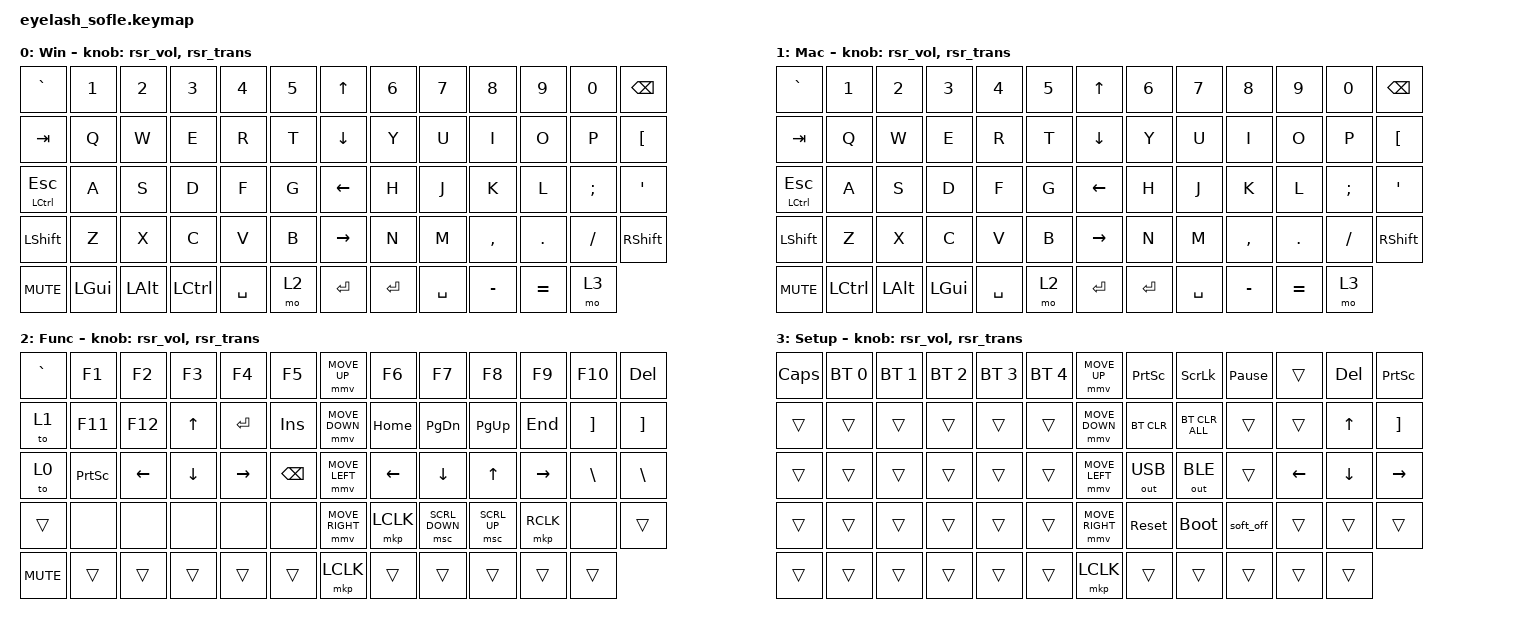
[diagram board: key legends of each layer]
#include <input/processors.dtsi>
#include <zephyr/dt-bindings/input/input-event-codes.h>
#include <behaviors.dtsi>
#include <dt-bindings/zmk/bt.h>
#include <dt-bindings/zmk/keys.h>
#include <dt-bindings/zmk/outputs.h>
#include <dt-bindings/zmk/pointing.h>
#include <dt-bindings/zmk/rgb.h>
#include <behaviors/runtime-sensor-rotate.dtsi>

/ {
    zip_scroll_scaler: zip_scroll_scaler {
        compatible = "zmk,input-processor-scaler";
        #input-processor-cells = <2>;
        type = <INPUT_EV_REL>;
        codes = <INPUT_REL_WHEEL INPUT_REL_HWHEEL>;
        track-remainders;
    };
};

&mmv_input_listener { input-processors = <&zip_xy_scaler 2 1>; };

&msc_input_listener { input-processors = <&zip_scroll_scaler 2 1>; };

&msc {
    acceleration-exponent = <0>;      // 0
    time-to-max-speed-ms = <0>;       // 300
    delay-ms = <0>;                   // 0
};

&mmv {
    time-to-max-speed-ms = <400>;
    acceleration-exponent = <1>;
};

&soft_off { hold-time-ms = <2000>; };

/ {
    behaviors {
        rsr_vol: rsr_vol {
            compatible = "zmk,behavior-runtime-sensor-rotate";
            #sensor-binding-cells = <0>;
            tap-ms = <5>;
            cw-binding = <&kp C_VOL_UP>;
            ccw-binding = <&kp C_VOL_DN>;
        };

        rsr_trans: rsr_trans {
            compatible = "zmk,behavior-runtime-sensor-rotate";
            #sensor-binding-cells = <0>;
            tap-ms = <0>;
        };
    };

    macros {
        shift_MB3: shift_MB3 {
            compatible = "zmk,behavior-macro";
            #binding-cells = <0>;
            bindings =
                <&macro_press>,
                <&kp LEFT_SHIFT>,
                <&macro_press>,
                <&mkp MB3>,
                <&macro_pause_for_release>,
                <&macro_release>,
                <&mkp MB3 &kp LEFT_SHIFT>;

            label = "SHIFT_MB3";
        };
    };

    combos {
        compatible = "zmk,combos";

        softoff {
            bindings = <&soft_off>;
            key-positions = <14 28 40>;
        };
    };

    keymap {
        compatible = "zmk,keymap";

        layer0 {
            bindings = <
&kp GRAVE     &kp N1   &kp N2   &kp N3    &kp N4    &kp N5               &kp UP_ARROW                  &kp N6    &kp N7    &kp N8    &kp N9    &kp N0   &kp BACKSPACE
&kp TAB       &kp Q    &kp W    &kp E     &kp R     &kp T                &kp DOWN_ARROW                &kp Y     &kp U     &kp I     &kp O     &kp P    &kp LBKT
&mt LCTRL ESC &kp A    &kp S    &kp D     &kp F     &kp G                &kp LEFT_ARROW                &kp H     &kp J     &kp K     &kp L     &kp SEMI &kp APOS
&kp LSHFT     &kp Z    &kp X    &kp C     &kp V     &kp B                &kp RIGHT_ARROW               &kp N     &kp M     &kp COMMA &kp DOT   &kp FSLH &kp RSHFT
&kp C_MUTE    &kp LGUI &kp LALT &kp LCTRL &kp SPACE &mo 2                &kp ENTER                     &kp ENTER &kp SPACE &kp MINUS &kp EQUAL &mo 3
            >;
            sensor-bindings = <&rsr_vol &rsr_trans>;
            display-name = "Win";
        };

        layer_1 {
            bindings = <
&kp GRAVE     &kp N1    &kp N2   &kp N3   &kp N4    &kp N5               &kp UP_ARROW                  &kp N6    &kp N7    &kp N8    &kp N9    &kp N0   &kp BACKSPACE
&kp TAB       &kp Q     &kp W    &kp E    &kp R     &kp T                &kp DOWN_ARROW                &kp Y     &kp U     &kp I     &kp O     &kp P    &kp LBKT
&mt LCTRL ESC &kp A     &kp S    &kp D    &kp F     &kp G                &kp LEFT_ARROW                &kp H     &kp J     &kp K     &kp L     &kp SEMI &kp APOS
&kp LSHFT     &kp Z     &kp X    &kp C    &kp V     &kp B                &kp RIGHT_ARROW               &kp N     &kp M     &kp COMMA &kp DOT   &kp FSLH &kp RSHFT
&kp C_MUTE    &kp LCTRL &kp LALT &kp LGUI &kp SPACE &mo 2                &kp ENTER                     &kp ENTER &kp SPACE &kp MINUS &kp EQUAL &mo 3
            >;
            sensor-bindings = <&rsr_vol &rsr_trans>;
            display-name = "Mac";
        };

        layer_2 {
            bindings = <
&kp GRAVE  &kp F1    &kp F2   &kp F3   &kp F4    &kp F5                        &mmv MOVE_UP                  &kp F6    &kp F7         &kp F8       &kp F9    &kp F10  &kp DELETE
&to 1      &kp F11   &kp F12  &kp UP   &kp ENTER &kp INSERT                    &mmv MOVE_DOWN                &kp HOME  &kp PG_DN      &kp PG_UP    &kp END   &kp RBKT &kp RBKT
&to 0      &kp PSCRN &kp LEFT &kp DOWN &kp RIGHT &kp BACKSPACE                 &mmv MOVE_LEFT                &kp LEFT  &kp DOWN       &kp UP       &kp RIGHT &kp BSLH &kp BSLH
&trans     &none     &none    &none    &none     &none                         &mmv MOVE_RIGHT               &mkp LCLK &msc SCRL_DOWN &msc SCRL_UP &mkp RCLK &none    &trans
&kp C_MUTE &trans    &trans   &trans   &trans    &trans                        &mkp LCLK                     &trans    &trans         &trans       &trans    &trans
            >;
            sensor-bindings = <&rsr_vol &rsr_trans>;
            display-name = "Func";

        };

        layer_3 {
            bindings = <
&kp CAPS &bt BT_SEL 0 &bt BT_SEL 1 &bt BT_SEL 2 &bt BT_SEL 3 &bt BT_SEL 4                 &mmv MOVE_UP                  &kp PSCRN    &kp SLCK       &kp PAUSE_BREAK &trans   &kp DELETE &kp PSCRN
&trans   &trans       &trans       &trans       &trans       &trans                       &mmv MOVE_DOWN                &bt BT_CLR   &bt BT_CLR_ALL &trans          &trans   &kp UP     &kp RBKT
&trans   &trans       &trans       &trans       &trans       &trans                       &mmv MOVE_LEFT                &out OUT_USB &out OUT_BLE   &trans          &kp LEFT &kp DOWN   &kp RIGHT
&trans   &trans       &trans       &trans       &trans       &trans                       &mmv MOVE_RIGHT               &sys_reset   &bootloader    &soft_off       &trans   &trans     &trans
&trans   &trans       &trans       &trans       &trans       &trans                       &mkp LCLK                     &trans       &trans         &trans          &trans   &trans
            >;
            sensor-bindings = <&rsr_vol &rsr_trans>;
            display-name = "Setup";
        };
    };
};
